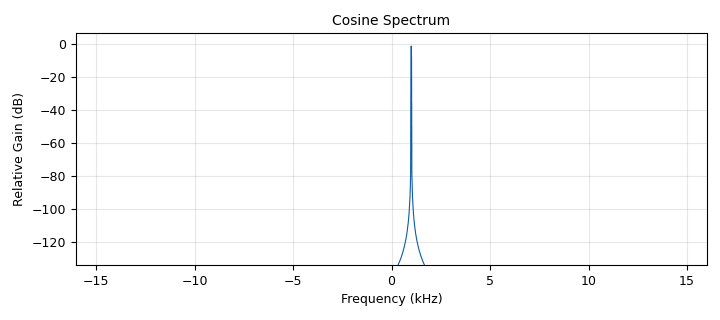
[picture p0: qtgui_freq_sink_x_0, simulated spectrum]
options:
  parameters:
    generate_options: qt_gui
    id: test_gnu
    output_language: python
    title: Not titled yet
  states: {}

blocks:
- name: samp_rate
  id: variable
  parameters:
    value: '32000'
  states: {}
- name: analog_sig_source_x_0
  id: analog_sig_source_x
  parameters:
    amp: '1'
    freq: '1000'
    offset: '0'
    phase: '0'
    samp_rate: samp_rate
    type: complex
    waveform: analog.GR_COS_WAVE
  states: {}
- name: blocks_throttle2_0
  id: blocks_throttle2
  parameters:
    samples_per_second: samp_rate
    type: complex
  states: {}
- name: qtgui_freq_sink_x_0
  id: qtgui_freq_sink_x
  parameters:
    autoscale: 'True'
    bw: samp_rate
    fc: '0'
    fftsize: '2048'
    grid: 'True'
    name: '"Cosine Spectrum"'
    norm_window: 'True'
    type: complex
    wintype: window.WIN_HAMMING
  states: {}

connections:
- [analog_sig_source_x_0, '0', blocks_throttle2_0, '0']
- [blocks_throttle2_0, '0', qtgui_freq_sink_x_0, '0']

metadata:
  file_format: 1
  grc_version: 3.10.12.0
